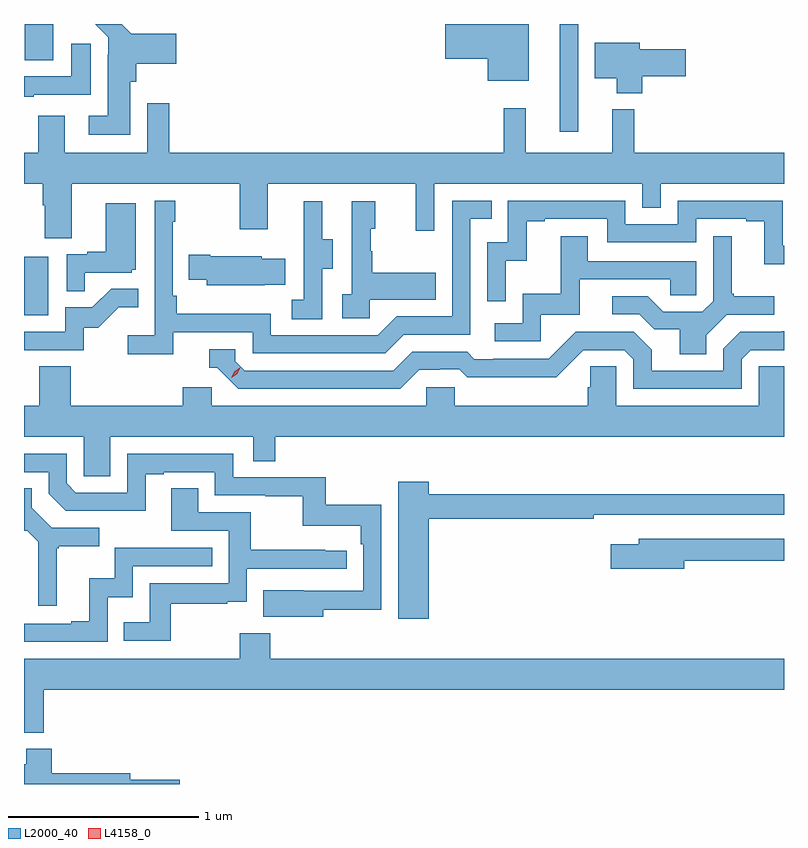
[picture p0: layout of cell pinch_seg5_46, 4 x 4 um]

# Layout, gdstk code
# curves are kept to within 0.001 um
import gdstk
lib = gdstk.Library(unit=1e-6, precision=1e-09)
def R(c, l, rs):  # rectangles x0, y0, x1, y1
    for r in rs: c.add(gdstk.rectangle(r[:2], r[2:], *l))
def P(c, l, *ps):  # polygons
    for p in ps: c.add(gdstk.Polygon(p, *l))
L2000_40 = (2000, 40)
L4158_0 = (4158, 0)

pinch_seg5_46 = lib.new_cell('pinch_seg5_46')
R(pinch_seg5_46, L2000_40, [(1101.087,912.012,1101.214,912.319), (1103.906,912.978,1104.003,913.545), (1101.092,913.354,1101.241,913.545)])
P(pinch_seg5_46, L2000_40, [(1103.743,913.545),(1103.528,913.545),(1103.528,913.544),(1103.304,913.544),(1103.304,913.361),(1103.528,913.361),(1103.528,913.247),(1103.743,913.247)],
  [(1101.646,913.242),(1101.677,913.242),(1101.677,913.337),(1101.889,913.337),(1101.889,913.495),(1101.651,913.495),(1101.602,913.545),(1101.462,913.545),(1101.531,913.476),(1101.531,913.382),(1101.527,913.382),(1101.527,913.063),(1101.429,913.063),(1101.429,912.962),(1101.646,912.962)],
  [(1104.341,913.27),(1104.571,913.27),(1104.571,913.412),(1104.328,913.412),(1104.328,913.447),(1104.092,913.447),(1104.092,913.259),(1104.206,913.259),(1104.206,913.181),(1104.341,913.181)],
  [(1101.139,913.173),(1101.439,913.173),(1101.439,913.441),(1101.335,913.441),(1101.335,913.269),(1101.087,913.269),(1101.087,913.161),(1101.139,913.161)],
  [(1101.337,912.704),(1102.222,912.704),(1102.222,912.465),(1102.369,912.465),(1102.369,912.704),(1103.15,912.704),(1103.15,912.456),(1103.247,912.456),(1103.247,912.704),(1104.342,912.704),(1104.342,912.577),(1104.438,912.577),(1104.438,912.704),(1105.087,912.704),(1105.087,912.868),(1104.299,912.868),(1104.299,913.096),(1104.182,913.096),(1104.182,912.868),(1103.729,912.868),(1103.729,913.102),(1103.611,913.102),(1103.611,912.868),(1101.851,912.868),(1101.851,913.129),(1101.735,913.129),(1101.735,912.868),(1101.301,912.868),(1101.301,913.063),(1101.161,913.063),(1101.161,912.868),(1101.087,912.868),(1101.087,912.704),(1101.185,912.704),(1101.185,912.592),(1101.197,912.592),(1101.197,912.418),(1101.337,912.418)],
  [(1101.872,911.922),(1102.29,911.922),(1102.29,911.811),(1102.987,911.811),(1103.086,911.91),(1103.436,911.91),(1103.436,912.519),(1103.549,912.519),(1103.549,912.615),(1103.34,912.615),(1103.34,912.006),(1103.049,912.006),(1102.95,911.907),(1102.386,911.907),(1102.386,912.019),(1101.89,912.019),(1101.89,912.115),(1101.87,912.115),(1101.87,912.503),(1101.883,912.503),(1101.883,912.616),(1101.774,912.616),(1101.774,911.908),(1101.633,911.908),(1101.633,911.806),(1101.872,911.806)],
  [(1103.622,912.299),(1103.732,912.299),(1103.732,912.507),(1103.827,912.507),(1103.827,912.519),(1104.156,912.519),(1104.156,912.396),(1104.624,912.396),(1104.624,912.519),(1104.887,912.519),(1104.887,912.507),(1104.983,912.507),(1104.983,912.281),(1105.087,912.281),(1105.087,912.379),(1105.08,912.379),(1105.08,912.615),(1104.528,912.615),(1104.528,912.492),(1104.252,912.492),(1104.252,912.615),(1103.634,912.615),(1103.634,912.396),(1103.526,912.396),(1103.526,912.087),(1103.622,912.087)],
  [(1102.908,912.095),(1103.255,912.095),(1103.255,912.235),(1102.921,912.235),(1102.921,912.35),(1102.911,912.35),(1102.911,912.468),(1102.936,912.468),(1102.936,912.613),(1102.812,912.613),(1102.812,912.122),(1102.761,912.122),(1102.761,911.997),(1102.908,911.997)],
  [(1102.656,912.256),(1102.711,912.256),(1102.711,912.411),(1102.657,912.411),(1102.657,912.613),(1102.559,912.613),(1102.559,912.399),(1102.56,912.399),(1102.56,912.095),(1102.497,912.095),(1102.497,911.992),(1102.656,911.992)],
  [(1101.407,912.237),(1101.654,912.237),(1101.654,912.252),(1101.676,912.252),(1101.676,912.601),(1101.518,912.601),(1101.518,912.346),(1101.419,912.346),(1101.419,912.333),(1101.312,912.333),(1101.312,912.139),(1101.407,912.139)],
  [(1103.808,912.015),(1104.013,912.015),(1104.013,912.201),(1104.487,912.201),(1104.487,912.117),(1104.624,912.117),(1104.624,912.297),(1104.055,912.297),(1104.055,912.427),(1103.911,912.427),(1103.911,912.124),(1103.712,912.124),(1103.712,911.97),(1103.565,911.97),(1103.565,911.874),(1103.808,911.874)],
  [(1104.679,911.908),(1104.786,912.015),(1105.036,912.015),(1105.036,912.112),(1104.823,912.112),(1104.823,912.124),(1104.811,912.124),(1104.811,912.427),(1104.714,912.427),(1104.714,912.087),(1104.657,912.03),(1104.451,912.03),(1104.37,912.111),(1104.183,912.111),(1104.183,912.018),(1104.324,912.018),(1104.404,911.938),(1104.539,911.938),(1104.539,911.806),(1104.679,911.806)],
  [(1102.355,912.173),(1102.463,912.173),(1102.463,912.31),(1102.338,912.31),(1102.338,912.322),(1102.066,912.322),(1102.066,912.33),(1101.955,912.33),(1101.955,912.2),(1102.049,912.2),(1102.049,912.17),(1102.355,912.17)],
  [(1101.402,911.946),(1101.478,911.946),(1101.585,912.053),(1101.689,912.053),(1101.689,912.152),(1101.545,912.152),(1101.447,912.054),(1101.303,912.054),(1101.303,911.925),(1101.087,911.925),(1101.087,911.829),(1101.402,911.829)],
  [(1103.167,911.724),(1103.274,911.724),(1103.274,911.727),(1103.377,911.727),(1103.419,911.685),(1103.652,911.685),(1103.652,911.687),(1103.888,911.687),(1104.03,911.829),(1104.246,911.829),(1104.294,911.781),(1104.294,911.625),(1104.864,911.625),(1104.864,911.781),(1104.912,911.829),(1105.087,911.829),(1105.087,911.927),(1105.074,911.927),(1105.074,911.925),(1104.858,911.925),(1104.768,911.835),(1104.768,911.721),(1104.391,911.721),(1104.391,911.831),(1104.297,911.925),(1103.991,911.925),(1103.85,911.784),(1103.557,911.784),(1103.557,911.781),(1103.458,911.781),(1103.419,911.82),(1103.13,911.82),(1103.031,911.721),(1102.248,911.721),(1102.2,911.769),(1102.2,911.832),(1102.061,911.832),(1102.061,911.736),(1102.104,911.736),(1102.215,911.625),(1103.068,911.625)],
  [(1101.541,911.372),(1102.293,911.372),(1102.293,911.245),(1102.409,911.245),(1102.409,911.372),(1105.087,911.372),(1105.087,911.744),(1104.954,911.744),(1104.954,911.536),(1104.204,911.536),(1104.204,911.744),(1104.067,911.744),(1104.067,911.634),(1104.053,911.634),(1104.053,911.536),(1103.355,911.536),(1103.355,911.634),(1103.205,911.634),(1103.205,911.536),(1102.074,911.536),(1102.074,911.634),(1101.923,911.634),(1101.923,911.536),(1101.332,911.536),(1101.332,911.744),(1101.167,911.744),(1101.167,911.536),(1101.087,911.536),(1101.087,911.372),(1101.402,911.372),(1101.402,911.164),(1101.541,911.164)],
  [(1102.663,910.462),(1102.968,910.462),(1102.968,911.014),(1102.675,911.014),(1102.675,911.16),(1102.188,911.16),(1102.188,911.283),(1101.63,911.283),(1101.63,911.079),(1101.36,911.079),(1101.312,911.127),(1101.312,911.283),(1101.087,911.283),(1101.087,911.187),(1101.216,911.187),(1101.216,911.073),(1101.306,910.983),(1101.727,910.982),(1101.727,911.175),(1101.823,911.175),(1101.823,911.187),(1102.092,911.187),(1102.092,911.064),(1102.357,911.064),(1102.357,911.059),(1102.554,911.059),(1102.554,910.904),(1102.859,910.904),(1102.859,910.808),(1102.872,910.808),(1102.872,910.563),(1102.345,910.564),(1102.345,910.424),(1102.663,910.424)],
  [(1103.218,910.942),(1104.086,910.942),(1104.086,910.962),(1105.087,910.962),(1105.087,911.071),(1103.218,911.071),(1103.218,911.137),(1103.057,911.137),(1103.057,910.416),(1103.218,910.416)],
  [(1101.259,910.785),(1101.271,910.785),(1101.271,910.796),(1101.484,910.796),(1101.484,910.893),(1101.234,910.893),(1101.127,911),(1101.127,911.102),(1101.087,911.102),(1101.087,910.878),(1101.105,910.878),(1101.162,910.821),(1101.162,910.482),(1101.259,910.482)],
  [(1101.859,910.494),(1102.157,910.494),(1102.157,910.505),(1102.26,910.505),(1102.26,910.677),(1102.786,910.677),(1102.786,910.773),(1102.673,910.773),(1102.673,910.778),(1102.28,910.778),(1102.28,910.974),(1102.003,910.974),(1102.003,911.102),(1101.863,911.102),(1101.863,910.878),(1102.164,910.878),(1102.164,910.602),(1101.748,910.602),(1101.748,910.396),(1101.613,910.396),(1101.613,910.299),(1101.859,910.299)],
  [(1104.562,910.72),(1105.087,910.72),(1105.087,910.836),(1104.323,910.836),(1104.323,910.807),(1104.174,910.807),(1104.174,910.678),(1104.562,910.678)],
  [(1101.528,910.529),(1101.66,910.529),(1101.66,910.692),(1102.079,910.692),(1102.079,910.788),(1101.564,910.788),(1101.564,910.627),(1101.431,910.627),(1101.431,910.402),(1101.335,910.402),(1101.335,910.389),(1101.087,910.389),(1101.087,910.293),(1101.528,910.293)],
  [(1101.191,910.04),(1105.087,910.04),(1105.087,910.204),(1102.382,910.204),(1102.382,910.339),(1102.222,910.339),(1102.222,910.204),(1101.087,910.204),(1101.087,909.815),(1101.191,909.815)],
  [(1101.907,909.567),(1101.646,909.567),(1101.646,909.601),(1101.233,909.601),(1101.233,909.73),(1101.098,909.73),(1101.098,909.649),(1101.087,909.649),(1101.087,909.545),(1101.907,909.545)])
P(pinch_seg5_46, L4158_0, [(1102.177,911.682),(1102.177,911.683),(1102.193,911.715),(1102.223,911.735),(1102.224,911.735),(1102.224,911.735),(1102.208,911.702),(1102.178,911.682)])

lib.write_gds('pinch_seg5_46.gds')
